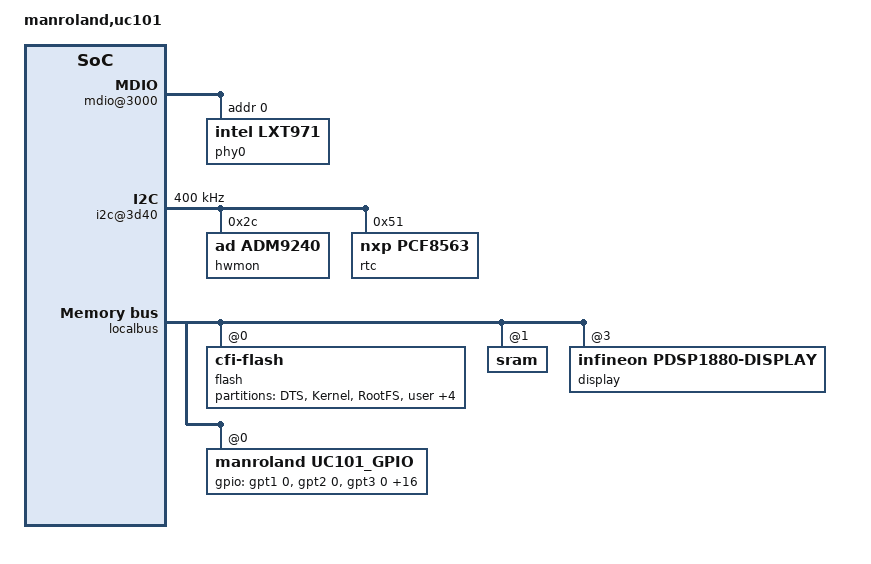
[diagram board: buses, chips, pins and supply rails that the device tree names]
/*
 * Manroland uc101 board Device Tree Source
 *
 * Copyright (C) 2009 DENX Software Engineering GmbH
 * Heiko Schocher <hs@denx.de>
 * Copyright 2006-2007 Secret Lab Technologies Ltd.
 *
 * This program is free software; you can redistribute  it and/or modify it
 * under  the terms of  the GNU General  Public License as published by the
 * Free Software Foundation;  either version 2 of the  License, or (at your
 * option) any later version.
 */

/include/ "mpc5200b.dtsi"

/ {
	model = "manroland,uc101";
	compatible = "manroland,uc101";

	soc5200@f0000000 {
		gpt0: timer@600 {	// General Purpose Timer in GPIO mode
			gpio-controller;
			#gpio-cells = <2>;
		};

		gpt1: timer@610 {	// General Purpose Timer in GPIO mode
			gpio-controller;
			#gpio-cells = <2>;
		};

		gpt2: timer@620 {	// General Purpose Timer in GPIO mode
			gpio-controller;
			#gpio-cells = <2>;
		};

		gpt3: timer@630 {	// General Purpose Timer in GPIO mode
			compatible = "fsl,mpc5200b-gpt","fsl,mpc5200-gpt";
			reg = <0x630 0x10>;
			interrupts = <1 12 0>;
			gpio-controller;
			#gpio-cells = <2>;
		};

		gpt4: timer@640 {	// General Purpose Timer in GPIO mode
			gpio-controller;
			#gpio-cells = <2>;
		};

		gpt5: timer@650 {	// General Purpose Timer in GPIO mode
			gpio-controller;
			#gpio-cells = <2>;
		};

		gpt6: timer@660 {	// General Purpose Timer in GPIO mode
			gpio-controller;
			#gpio-cells = <2>;
		};

		gpt7: timer@670 {	// General Purpose Timer in GPIO mode
			gpio-controller;
			#gpio-cells = <2>;
		};

		rtc@800 {
			status = "disabled";
		};

		can@900 {
			status = "disabled";
		};

		can@980 {
			status = "disabled";
		};

		gpio_sint: gpio_sint@b00 {
			compatible = "fsl,mpc5200b-gpio-sint","fsl,mpc5200-gpio-sint";
			reg = <0xb00 0x40>;
			interrupts = <1 8 0 0 3 0>;
			gpio-controller;
			#gpio-cells = <2>;
		};

		dma-controller@1200 {
			compatible = "fsl,mpc5200b-bestcomm","fsl,mpc5200-bestcomm";
			reg = <0x1200 0x80>;
			interrupts = <3 0 0  3 1 0  3 2 0  3 3 0
			              3 4 0  3 5 0  3 6 0  3 7 0
			              3 8 0  3 9 0  3 10 0  3 11 0
			              3 12 0  3 13 0  3 14 0  3 15 0>;
		};

		spi@f00 {
			status = "disabled";
		};

		usb@1000 {
			status = "disabled";
		};

		psc@2000 {	// PSC1
			compatible = "fsl,mpc5200b-psc-uart","fsl,mpc5200-psc-uart";
		};

		psc@2200 {	// PSC2
			compatible = "fsl,mpc5200b-psc-uart","fsl,mpc5200-psc-uart";
		};

		psc@2400 {	// PSC3
			status = "disabled";
		};

		psc@2600 {	// PSC4
			status = "disabled";
		};

		psc@2800 {	// PSC5
			status = "disabled";
		};

		psc@2c00 {	// PSC6
			compatible = "fsl,mpc5200b-psc-uart","fsl,mpc5200-psc-uart";
		};

		ethernet@3000 {
			phy-handle = <&phy0>;
		};

		mdio@3000 {
			phy0: ethernet-phy@0 {
				compatible = "intel,lxt971";
				reg = <0>;
			};
		};

		i2c@3d00 {
			status = "disabled";
		};

		i2c@3d40 {
			fsl,preserve-clocking;
			clock-frequency = <400000>;

			hwmon@2c {
				compatible = "ad,adm9240";
				reg = <0x2c>;
			};
			rtc@51 {
				compatible = "nxp,pcf8563";
				reg = <0x51>;
			};
		};

		sram@8000 {
			compatible = "fsl,mpc5200b-sram","fsl,mpc5200-sram";
			reg = <0x8000 0x4000>;
		};

		wdt {
			compatible = "generic,gpio-wdt";
			reg = <0x600 0x10>;
			gpios = <&gpt0 0 0>;
			period = <500>;	// WDT trigger period in msec
		};
	};

	pci@f0000d00 {
		status = "disabled";
	};

	localbus {
		ranges = <0 0 0xff800000 0x00800000
			  1 0 0x80000000 0x00800000
			  3 0 0x80000000 0x00800000>;

		flash@0,0 {
			compatible = "cfi-flash";
			reg = <0 0 0x00800000>;
			bank-width = <2>;
			device-width = <2>;
			#size-cells = <1>;
			#address-cells = <1>;

			partition@0 {
				label = "DTS";
				reg = <0x0 0x00100000>;
			};
			partition@100000 {
				label = "Kernel";
				reg = <0x100000 0x00200000>;
			};
			partition@300000 {
				label = "RootFS";
				reg = <0x00300000 0x00200000>;
			};
			partition@500000 {
				label = "user";
				reg = <0x00500000 0x00200000>;
			};
			partition@700000 {
				label = "U-Boot";
				reg = <0x00700000 0x00040000>;
			};
			partition@740000 {
				label = "Env";
				reg = <0x00740000 0x00010000>;
			};
			partition@750000 {
				label = "red. Env";
				reg = <0x00750000 0x00010000>;
			};
			partition@760000 {
				label = "reserve";
				reg = <0x00760000 0x000a0000>;
			};
		};

		sram@1,0 {
			compatible = "sram";
			reg = <1 0x100000 0x100000>;
		};

		display@3,600000 {
				compatible = "infineon,pdsp1880-display";
				reg = <3 0x00600000 0x1000>;
		};

		uc101_gpio {
			compatible = "manroland,uc101_gpio";
			reg = <0x0 0x0 0x0>;
			gpios = <&gpt1 0 0
				 &gpt2 0 0
				 &gpt3 0 0
				 &gpt4 0 0
				 &gpt5 0 0
				 &gpt6 0 0
				 &gpt7 0 0
				 &gpio_simple 12 0
				 &gpio_simple 13 0
				 &gpio_simple 14 0
				 &gpio_simple 15 0
				 &gpio_simple 18 0
				 &gpio_simple 19 0
				 &gpio_simple 20 0
				 &gpio_simple 21 0
				 &gpio_simple 22 0
				 &gpio_simple 23 0
				 &gpio_sint 5 0
				 &gpio_sint 4 0
				>;
		};
	};
};
